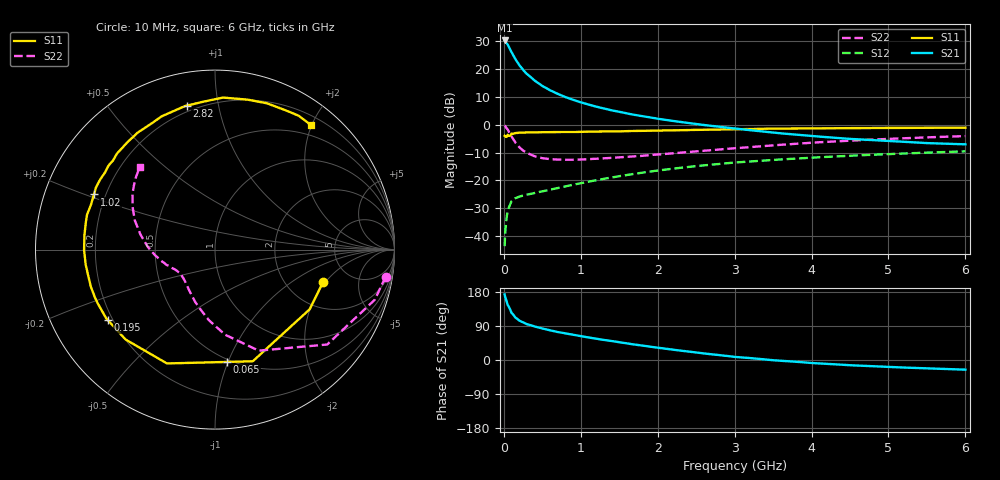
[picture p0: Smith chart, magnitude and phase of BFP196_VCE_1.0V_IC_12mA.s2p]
! Infineon Technologies  Discrete & RF Semiconductors
! BFP196
! VCE = 1.0 V,  IC =  12mA
! Common Emitter S-Parameters:  Jan 2016
# GHz  S  MA  R  50
!  f  S11  S21  S12  S22
! GHz  MAG  ANG  MAG  ANG  MAG  ANG  MAG  ANG
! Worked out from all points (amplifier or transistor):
!   210 points, 10 MHz to 6 GHz, reference 50 ohm
!   highest |S21| = 30.1 dB at 10 MHz (marker M1)
!   |S21| within 3 dB of that: start of sweep to 77.62 MHz
!   unconditionally stable (mu >= 1): 797.8 MHz to 5.445 GHz; 5.542 GHz to end of sweep
!   at 185 MHz: K = 0.35, MSG = 23.9 dB, |S12| = -25.9 dB
!   at 1.52 GHz: K = 1.15, MAG = 9.0 dB, |S12| = -18.4 dB
!   at 6 GHz: K = 1.02, MAG = 0.5 dB, |S12| = -9.6 dB
!   S11 on the Smith chart (normalised r, x): 10 MHz: 3.17, -1.89; 65 MHz: 0.48, -0.99; 195 MHz: 0.18, -0.29; 1.02 GHz: 0.16, +0.21; 2.82 GHz: 0.17, +0.81; 6 GHz: 0.33, +1.99
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0.01  0.6285 -16.7  31.84 173.1  0.0067 83.1  0.9627 -9.0
0.02  0.6237 -32.2  30.75 164.6  0.0128 76.4  0.9331 -17.4
0.05  0.6568 -71.3  26.92 145.6  0.0291 59.5  0.819 -40.2
0.065  0.6293 -83.9  24.45 140.6  0.0329 53.3  0.7427 -46.5
0.1  0.6884 -112.9  19.7 124.4  0.0427 43.3  0.6135 -66.6
0.15  0.7067 -134.9  14.71 111.9  0.0483 36.5  0.4777 -83.2
0.195  0.7144 -146.5  11.92 105.1  0.0511 33.4  0.403 -93.4
0.24  0.7185 -155.0  9.874 99.9  0.0535 32.3  0.3529 -101.7
0.3  0.722 -163.5  7.998 94.5  0.0557 32.3  0.3116 -110.8
0.4  0.7254 -173.3  6.105 88.2  0.0598 33.7  0.2714 -121.6
0.5  0.7294 -179.8  4.896 83.1  0.0639 35.6  0.2504 -129.1
0.6  0.7318 173.9  4.105 78.2  0.0685 37.4  0.2411 -134.6
0.7  0.735 169.0  3.537 73.8  0.073 38.9  0.2367 -139.1
0.8  0.739 164.6  3.095 70.2  0.0784 40.5  0.2353 -142.7
1.02  0.7407 155.5  2.449 62.3  0.0905 42.7  0.2375 -147.9
1.4  0.7556 141.7  1.797 50.1  0.1127 43.7  0.2534 -154.9
2.02  0.7812 123.0  1.259 32.0  0.1517 41.0  0.2924 -165.3
2.82  0.8173 101.2  0.907 12.5  0.1993 33.5  0.3607 -179.6
3.1  0.8257 95.0  0.82 6.8  0.214 30.1  0.3858 175.2
4.1  0.8559 76.3  0.609 -9.0  0.26 19.0  0.4826 158.5
5.1  0.8706 62.7  0.5 -19.2  0.3002 7.9  0.5616 144.5
6  0.8761 52.3  0.443 -25.5  0.3322 -2.4  0.622 132.5
